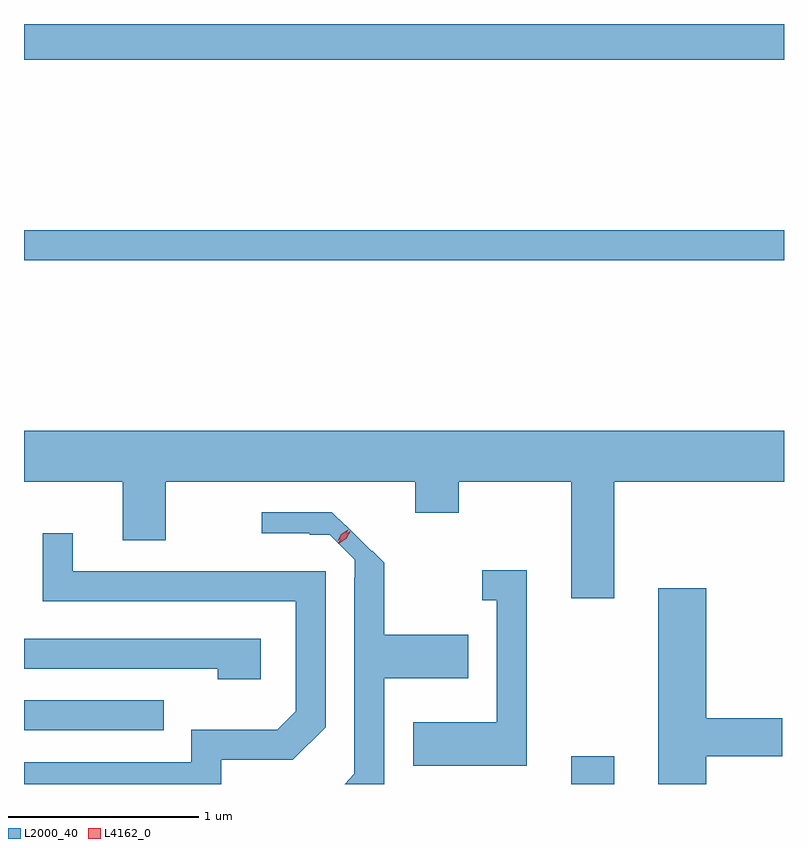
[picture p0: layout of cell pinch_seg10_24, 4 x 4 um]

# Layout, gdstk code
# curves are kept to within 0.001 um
import gdstk
lib = gdstk.Library(unit=1e-6, precision=1e-09)
def R(c, l, rs):  # rectangles x0, y0, x1, y1
    for r in rs: c.add(gdstk.rectangle(r[:2], r[2:], *l))
def P(c, l, *ps):  # polygons
    for p in ps: c.add(gdstk.Polygon(p, *l))
L2000_40 = (2000, 40)
L4162_0 = (4162, 0)

pinch_seg10_24 = lib.new_cell('pinch_seg10_24')
R(pinch_seg10_24, L2000_40, [(603.651,2205.564,603.879,2205.709), (600.772,2205.846,601.508,2206.004), (600.772,2208.321,604.772,2208.479), (600.772,2209.376,604.772,2209.564)])
P(pinch_seg10_24, L2000_40, [(603.879,2207.156),(604.772,2207.156),(604.772,2207.424),(600.772,2207.424),(600.772,2207.156),(601.291,2207.156),(601.291,2206.846),(601.519,2206.846),(601.519,2207.156),(602.831,2207.156),(602.831,2206.991),(603.059,2206.991),(603.059,2207.156),(603.651,2207.156),(603.651,2206.541),(603.879,2206.541)],
  [(602.669,2206.121),(603.109,2206.121),(603.109,2206.349),(602.669,2206.349),(602.669,2206.728),(602.605,2206.792),(602.602,2206.79),(602.465,2206.927),(602.462,2206.925),(602.393,2206.994),(602.023,2206.994),(602.023,2206.884),(602.277,2206.884),(602.277,2206.876),(602.381,2206.876),(602.512,2206.745),(602.511,2205.617),(602.459,2205.564),(602.669,2205.564)],
  [(601.809,2205.691),(602.187,2205.691),(602.359,2205.864),(602.359,2206.684),(601.029,2206.684),(601.029,2206.883),(600.871,2206.883),(600.871,2206.526),(602.201,2206.526),(602.201,2205.947),(602.104,2205.849),(601.651,2205.849),(601.651,2205.679),(600.772,2205.679),(600.772,2205.564),(601.809,2205.564)],
  [(603.419,2206.689),(603.183,2206.689),(603.183,2206.531),(603.261,2206.531),(603.261,2205.889),(602.821,2205.889),(602.821,2205.661),(603.419,2205.661)],
  [(604.364,2205.711),(604.764,2205.711),(604.764,2205.909),(604.364,2205.909),(604.364,2206.594),(604.111,2206.594),(604.111,2205.564),(604.364,2205.564)],
  [(602.019,2206.329),(600.772,2206.329),(600.772,2206.171),(601.791,2206.171),(601.791,2206.116),(602.019,2206.116)])
P(pinch_seg10_24, L4162_0, [(602.427,2206.829),(602.427,2206.83),(602.452,2206.87),(602.491,2206.897),(602.492,2206.897),(602.492,2206.896),(602.467,2206.856),(602.428,2206.829)],
  [(602.422,2206.843),(602.422,2206.843),(602.443,2206.879),(602.477,2206.902),(602.478,2206.902),(602.478,2206.901),(602.457,2206.865),(602.422,2206.843)])

lib.write_gds('pinch_seg10_24.gds')
